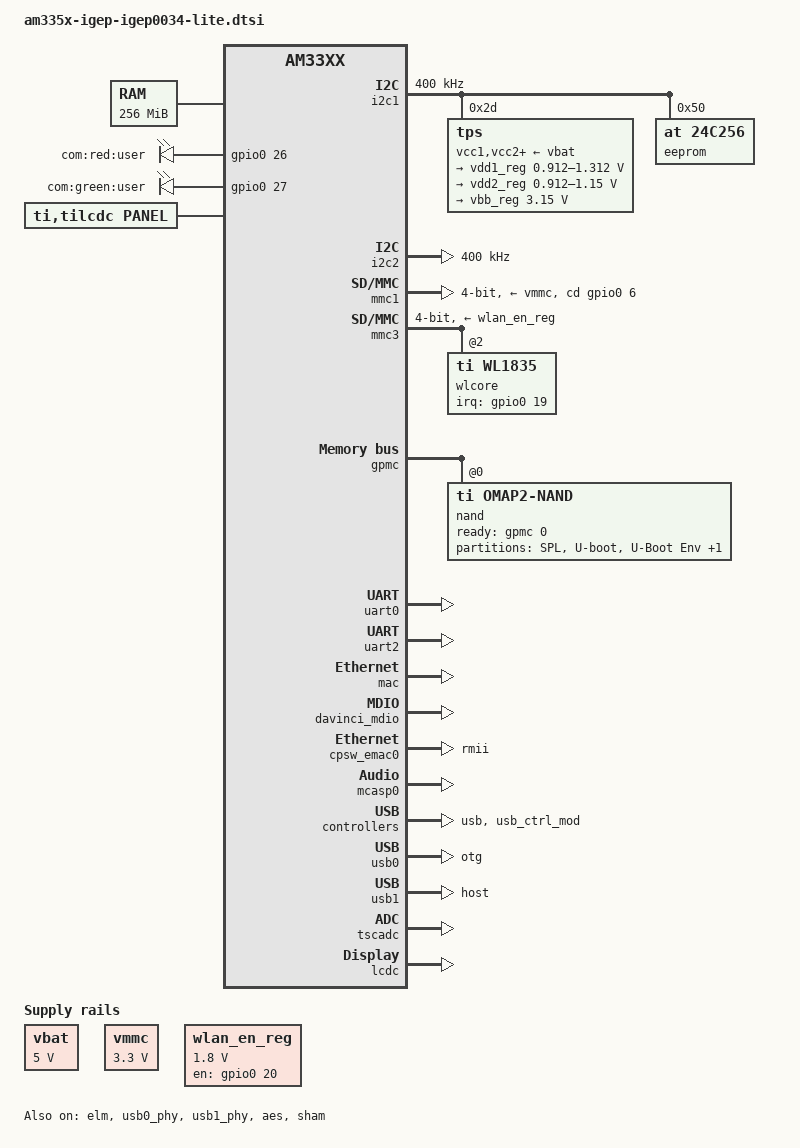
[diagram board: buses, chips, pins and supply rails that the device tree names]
/*
 * am335x-igep-igep0034-lite.dtsi - Device Tree file for IGEP0034 Lite
 * MODULE based on AM3352
 *
 * Copyright (C) 2016 ISEE 2007 SL - http://www.isee.biz
 *
 * This program is free software; you can redistribute it and/or modify
 * it under the terms of the GNU General Public License version 2 as
 * published by the Free Software Foundation.
 */

#include "am33xx.dtsi"
#include <dt-bindings/interrupt-controller/irq.h>

/ {
	cpus {
		cpu@0 {
			cpu0-supply = <&vdd1_reg>;
		};
	};

	memory {
		device_type = "memory";
		reg = <0x80000000 0x10000000>; /* 256 MB */
	};

	leds {
		pinctrl-names = "default", "sleep";
		pinctrl-0 = <&leds_pins_default>;
		pinctrl-1 = <&leds_pins_sleep>;
		compatible = "gpio-leds";

		led@0 {
			label = "com:red:user";
			gpios = <&gpio0 26 GPIO_ACTIVE_HIGH>;
			default-state = "off";
		};

		led@1 {
			label = "com:green:user";
			gpios = <&gpio0 27 GPIO_ACTIVE_HIGH>;
			default-state = "on";
		};
	};

	vbat: fixedregulator@0 {
		compatible = "regulator-fixed";
		regulator-name = "vbat";
		regulator-min-microvolt = <5000000>;
		regulator-max-microvolt = <5000000>;
		regulator-boot-on;
	};

	vmmc: fixedregulator@1 {
		compatible = "regulator-fixed";
		regulator-name = "vmmc";
		regulator-min-microvolt = <3300000>;
		regulator-max-microvolt = <3300000>;
	};

	wlan_en_reg: fixedregulator@2 {
		compatible = "regulator-fixed";
		regulator-name = "wlan-en-regulator";
		regulator-min-microvolt = <1800000>;
		regulator-max-microvolt = <1800000>;

		/* WL_EN */
		gpio = <&gpio0 20 0>;

		/* WLAN card specific delay */
		startup-delay-us = <70000>;
		enable-active-high;
	};

	kim {
		compatible = "kim";
		nshutdown_gpio = <60>; /* Bank1, pin28 */
		dev_name = "/dev/ttyO2";
		flow_cntrl = <1>;
		baud_rate = <3000000>;
	};

	btwilink {
		compatible = "btwilink";
	};

	panel {
		compatible = "ti,tilcdc,panel";
		pinctrl-names = "default", "sleep";
		pinctrl-0 = <&lcd_pins_default>;
		pinctrl-1 = <&lcd_pins_sleep>;
	};
};

&am33xx_pinmux {
	i2c1_pins: pinmux_i2c1_pins {
		pinctrl-single,pins = <
			AM33XX_IOPAD(0x980, PIN_INPUT_PULLUP | MUX_MODE3)	/* uart1_rxd.I2C1_SDA */
			AM33XX_IOPAD(0x984, PIN_INPUT_PULLUP | MUX_MODE3)	/* uart1_txd.I2C1_SCL */
		>;
	};

	i2c2_pins: pinmux_i2c2_pins {
		pinctrl-single,pins = <
			AM33XX_IOPAD(0x978, PIN_INPUT_PULLUP | MUX_MODE3)	/* uart1_ctsn.I2C2_SDA */
			AM33XX_IOPAD(0x97C, PIN_INPUT_PULLUP | MUX_MODE3)	/* uart1_rtsn.I2C2_SCL */
		>;
	};

	leds_pins_default: pinmux_leds_pins_default {
		pinctrl-single,pins = <
			AM33XX_IOPAD(0x828, PIN_OUTPUT_PULLUP | MUX_MODE7)		/* gpmc_ad10.gpio0[26] */
			AM33XX_IOPAD(0x82C, PIN_OUTPUT_PULLDOWN | MUX_MODE7)	/* gpmc_ad11.gpio0[27] */
		>;
	};

	leds_pins_sleep: pinmux_leds_pins_sleep {
		pinctrl-single,pins = <
			AM33XX_IOPAD(0x828, PIN_INPUT_PULLDOWN | MUX_MODE7)		/* gpmc_ad10.gpio0[26] */
			AM33XX_IOPAD(0x82C, PIN_INPUT_PULLDOWN | MUX_MODE7)	/* gpmc_ad11.gpio0[27] */
		>;
	};

	mmc1_pins_default: pinmux_mmc1_pins_default {
		pinctrl-single,pins = <
			AM33XX_IOPAD(0x8F0, PIN_INPUT_PULLUP | MUX_MODE0)	/* mmc0_dat3.mmc0_dat3 */
			AM33XX_IOPAD(0x8F4, PIN_INPUT_PULLUP | MUX_MODE0)	/* mmc0_dat2.mmc0_dat2 */
			AM33XX_IOPAD(0x8F8, PIN_INPUT_PULLUP | MUX_MODE0)	/* mmc0_dat1.mmc0_dat1 */
			AM33XX_IOPAD(0x8FC, PIN_INPUT_PULLUP | MUX_MODE0)	/* mmc0_dat0.mmc0_dat0 */
			AM33XX_IOPAD(0x900, PIN_INPUT_PULLUP | MUX_MODE0)	/* mmc0_clk.mmc0_clk */
			AM33XX_IOPAD(0x904, PIN_INPUT_PULLUP | MUX_MODE0)	/* mmc0_cmd.mmc0_cmd */
			AM33XX_IOPAD(0x960, PIN_INPUT | MUX_MODE7)			/* spi0_cs1.gpio0_6 */
		>;
	};

	mmc1_pins_sleep: pinmux_mmc1_pins_sleep {
		pinctrl-single,pins = <
			AM33XX_IOPAD(0x8F0, PIN_INPUT_PULLDOWN | MUX_MODE7)
			AM33XX_IOPAD(0x8F4, PIN_INPUT_PULLDOWN | MUX_MODE7)
			AM33XX_IOPAD(0x8F8, PIN_INPUT_PULLDOWN | MUX_MODE7)
			AM33XX_IOPAD(0x8FC, PIN_INPUT_PULLDOWN | MUX_MODE7)
			AM33XX_IOPAD(0x900, PIN_INPUT_PULLDOWN | MUX_MODE7)
			AM33XX_IOPAD(0x904, PIN_INPUT_PULLDOWN | MUX_MODE7)
			AM33XX_IOPAD(0x960, PIN_INPUT_PULLDOWN | MUX_MODE7)
		>;
	};

	mmc3_pins_default: pinmux_mmc3_pins_default {
		pinctrl-single,pins = <
			AM33XX_IOPAD(0x83C, PIN_INPUT_PULLUP | MUX_MODE3)	/* gpmc_ad15.mmc2_dat3 */
			AM33XX_IOPAD(0x838, PIN_INPUT_PULLUP | MUX_MODE3)	/* gpmc_ad14.mmc2_dat2 */
			AM33XX_IOPAD(0x834, PIN_INPUT_PULLUP | MUX_MODE3)	/* gpmc_ad13.mmc2_dat1 */
			AM33XX_IOPAD(0x830, PIN_INPUT_PULLUP | MUX_MODE3)	/* gpmc_ad12.mmc2_dat0 */
			AM33XX_IOPAD(0x88C, PIN_INPUT_PULLUP | MUX_MODE3)	/* gpmc_clk.mmc2_clk */
			AM33XX_IOPAD(0x888, PIN_INPUT_PULLUP | MUX_MODE3)	/* gpmc_csn3.mmc2_cmd */
		>;
	};

	mmc3_pins_sleep: pinmux_mmc3_pins_sleep {
		pinctrl-single,pins = <
			AM33XX_IOPAD(0x83C, PIN_INPUT_PULLUP | MUX_MODE7)
			AM33XX_IOPAD(0x838, PIN_INPUT_PULLUP | MUX_MODE7)
			AM33XX_IOPAD(0x834, PIN_INPUT_PULLUP | MUX_MODE7)
			AM33XX_IOPAD(0x830, PIN_INPUT_PULLUP | MUX_MODE7)
			AM33XX_IOPAD(0x88C, PIN_INPUT_PULLUP | MUX_MODE7)
			AM33XX_IOPAD(0x888, PIN_INPUT_PULLUP | MUX_MODE7)
		>;
	};

	wlan_pins: pinmux_wlan_pins {
		pinctrl-single,pins = <
			AM33XX_IOPAD(0x9B4, PIN_OUTPUT_PULLDOWN | MUX_MODE7)	/* gpio0_20 WL_EN */
			AM33XX_IOPAD(0x9B0, PIN_INPUT_PULLUP | MUX_MODE7)		/* gpio0_19 WL_IRQ */
			AM33XX_IOPAD(0x878, PIN_OUTPUT_PULLDOWN | MUX_MODE7)	/* gpio1_28 BT_EN */
		>;
	};

	nandflash_pins_default: pinmux_nandflash_pins_default {
		pinctrl-single,pins = <
			AM33XX_IOPAD(0x800, PIN_INPUT_PULLUP | MUX_MODE0)	/* gpmc_ad0.gpmc_ad0 */
			AM33XX_IOPAD(0x804, PIN_INPUT_PULLUP | MUX_MODE0)	/* gpmc_ad1.gpmc_ad1 */
			AM33XX_IOPAD(0x808, PIN_INPUT_PULLUP | MUX_MODE0)	/* gpmc_ad2.gpmc_ad2 */
			AM33XX_IOPAD(0x80C, PIN_INPUT_PULLUP | MUX_MODE0)	/* gpmc_ad3.gpmc_ad3 */
			AM33XX_IOPAD(0x810, PIN_INPUT_PULLUP | MUX_MODE0)	/* gpmc_ad4.gpmc_ad4 */
			AM33XX_IOPAD(0x814, PIN_INPUT_PULLUP | MUX_MODE0)	/* gpmc_ad5.gpmc_ad5 */
			AM33XX_IOPAD(0x818, PIN_INPUT_PULLUP | MUX_MODE0)	/* gpmc_ad6.gpmc_ad6 */
			AM33XX_IOPAD(0x81C, PIN_INPUT_PULLUP | MUX_MODE0)	/* gpmc_ad7.gpmc_ad7 */
			AM33XX_IOPAD(0x870, PIN_INPUT_PULLUP | MUX_MODE0)	/* gpmc_wait0.gpmc_wait0 */
			AM33XX_IOPAD(0x874, PIN_INPUT_PULLUP | MUX_MODE7)	/* gpmc_wpn.gpio0_30 */
			AM33XX_IOPAD(0x87C, PIN_OUTPUT | MUX_MODE0)			/* gpmc_csn0.gpmc_csn0 */
			AM33XX_IOPAD(0x890, PIN_OUTPUT | MUX_MODE0)			/* gpmc_advn_ale.gpmc_advn_ale */
			AM33XX_IOPAD(0x894, PIN_OUTPUT | MUX_MODE0)			/* gpmc_oen_ren.gpmc_oen_ren */
			AM33XX_IOPAD(0x898, PIN_OUTPUT | MUX_MODE0)			/* gpmc_wen.gpmc_wen */
			AM33XX_IOPAD(0x89C, PIN_OUTPUT | MUX_MODE0)			/* gpmc_be0n_cle.gpmc_be0n_cle */
		>;
	};

	nandflash_pins_sleep: pinmux_nandflash_pins_sleep {
		pinctrl-single,pins = <
			AM33XX_IOPAD(0x800, PIN_INPUT_PULLDOWN | MUX_MODE7)
			AM33XX_IOPAD(0x804, PIN_INPUT_PULLDOWN | MUX_MODE7)
			AM33XX_IOPAD(0x808, PIN_INPUT_PULLDOWN | MUX_MODE7)
			AM33XX_IOPAD(0x80C, PIN_INPUT_PULLDOWN | MUX_MODE7)
			AM33XX_IOPAD(0x810, PIN_INPUT_PULLDOWN | MUX_MODE7)
			AM33XX_IOPAD(0x814, PIN_INPUT_PULLDOWN | MUX_MODE7)
			AM33XX_IOPAD(0x818, PIN_INPUT_PULLDOWN | MUX_MODE7)
			AM33XX_IOPAD(0x81C, PIN_INPUT_PULLDOWN | MUX_MODE7)
			AM33XX_IOPAD(0x870, PIN_INPUT_PULLDOWN | MUX_MODE7)
			AM33XX_IOPAD(0x874, PIN_INPUT_PULLDOWN | MUX_MODE7)
			AM33XX_IOPAD(0x87C, PIN_INPUT_PULLDOWN | MUX_MODE7)
			AM33XX_IOPAD(0x890, PIN_INPUT_PULLDOWN | MUX_MODE7)
			AM33XX_IOPAD(0x894, PIN_INPUT_PULLDOWN | MUX_MODE7)
			AM33XX_IOPAD(0x898, PIN_INPUT_PULLDOWN | MUX_MODE7)
			AM33XX_IOPAD(0x89C, PIN_INPUT_PULLDOWN | MUX_MODE7)
		>;
	};

	uart0_pins: pinmux_uart0_pins {
		pinctrl-single,pins = <
			AM33XX_IOPAD(0x970, PIN_INPUT_PULLUP | MUX_MODE0)		/* uart0_rxd.uart0_rxd */
			AM33XX_IOPAD(0x974, PIN_OUTPUT_PULLDOWN | MUX_MODE0)	/* uart0_txd.uart0_txd */
		>;
	};

	uart2_pins_default: pinmux_uart2_pins_default {
		pinctrl-single,pins = <
			AM33XX_IOPAD(0x988, PIN_INPUT | MUX_MODE2)				/* I2C0_SDA.uart2_ctsn */
			AM33XX_IOPAD(0x98C, PIN_OUTPUT_PULLDOWN | MUX_MODE2)	/* I2C0_SCL.uart2_rtsn */
			AM33XX_IOPAD(0x92C, PIN_INPUT_PULLUP | MUX_MODE1)		/* gmii1_txclk.uart2_rxd */
			AM33XX_IOPAD(0x930, PIN_OUTPUT | MUX_MODE1)				/* gmii1_rxclk.uart2_txd */
		>;
	};

	uart2_pins_sleep: pinmux_uart2_pins_sleep {
		pinctrl-single,pins = <
			AM33XX_IOPAD(0x988, PIN_INPUT_PULLDOWN | MUX_MODE7)
			AM33XX_IOPAD(0x98C, PIN_INPUT_PULLDOWN | MUX_MODE7)
			AM33XX_IOPAD(0x92C, PIN_INPUT_PULLDOWN | MUX_MODE7)
			AM33XX_IOPAD(0x930, PIN_INPUT_PULLDOWN | MUX_MODE7)
		>;
	};

	cpsw_default: pinmux_cpsw_default {
		pinctrl-single,pins = <
			/* Slave 1: eth0 device*/
			AM33XX_IOPAD(0x90C, PIN_INPUT_PULLDOWN | MUX_MODE1)	/* gmii1_crs.rmii1_crs_dv */
			AM33XX_IOPAD(0x910, PIN_INPUT_PULLUP | MUX_MODE1)	/* gmii1_rxer.rmii1_rxer */
			AM33XX_IOPAD(0x914, PIN_OUTPUT_PULLDOWN | MUX_MODE1)	/* gmii1_txen.rmii1_txen */
			AM33XX_IOPAD(0x928, PIN_OUTPUT_PULLDOWN | MUX_MODE1)	/* gmii1_txd0.rmii1_txd0 */
			AM33XX_IOPAD(0x924, PIN_OUTPUT_PULLDOWN | MUX_MODE1)	/* gmii1_txd1.rmii1_txd1 */
			AM33XX_IOPAD(0x940, PIN_INPUT_PULLUP | MUX_MODE1)	/* gmii1_rxd0.rmii1_rxd0 */
			AM33XX_IOPAD(0x93C, PIN_INPUT_PULLUP | MUX_MODE1)	/* gmii1_rxd1.rmii1_rxd1 */
			AM33XX_IOPAD(0x944, PIN_INPUT_PULLDOWN | MUX_MODE0)	/* rmii1_refclk.rmii1_refclk */
		>;
	};

	cpsw_sleep: pinmux_cpsw_sleep {
		pinctrl-single,pins = <
			/* Slave 1: eth0 device*/
			AM33XX_IOPAD(0x90C, PIN_INPUT_PULLDOWN | MUX_MODE7)
			AM33XX_IOPAD(0x910, PIN_INPUT_PULLDOWN | MUX_MODE7)
			AM33XX_IOPAD(0x914, PIN_INPUT_PULLDOWN | MUX_MODE7)
			AM33XX_IOPAD(0x928, PIN_INPUT_PULLDOWN | MUX_MODE7)
			AM33XX_IOPAD(0x924, PIN_INPUT_PULLDOWN | MUX_MODE7)
			AM33XX_IOPAD(0x940, PIN_INPUT_PULLDOWN | MUX_MODE7)
			AM33XX_IOPAD(0x93C, PIN_INPUT_PULLDOWN | MUX_MODE7)
			AM33XX_IOPAD(0x944, PIN_INPUT_PULLDOWN | MUX_MODE7)
		>;
	};

	davinci_mdio_default: pinmux_davinci_mdio_default {
		pinctrl-single,pins = <
			AM33XX_IOPAD(0x948, PIN_INPUT_PULLUP | SLEWCTRL_FAST | MUX_MODE0)	/* mdio_data.mdio_data */
			AM33XX_IOPAD(0x94C, PIN_OUTPUT_PULLUP | MUX_MODE0)					/* mdio_clk.mdio_clk */
		>;
	};

	davinci_mdio_sleep: pinmux_davinci_mdio_sleep {
		pinctrl-single,pins = <
			AM33XX_IOPAD(0x948, PIN_INPUT_PULLDOWN | MUX_MODE7)
			AM33XX_IOPAD(0x94C, PIN_INPUT_PULLDOWN | MUX_MODE7)
		>;
	};

	mcasp0_pins_default: pinmux_mcasp0_pins_default {
		pinctrl-single,pins = <
			AM33XX_IOPAD(0x990, PIN_INPUT_PULLDOWN | MUX_MODE0)	/* mcasp0_aclkx.mcasp0_aclkx */
			AM33XX_IOPAD(0x994, PIN_INPUT_PULLDOWN | MUX_MODE0)	/* mcasp0_fsx.mcasp0_fsx */
			AM33XX_IOPAD(0x998, PIN_OUTPUT_PULLDOWN | MUX_MODE0)/* mcasp0_axr0.mcasp0_axr0 */
			AM33XX_IOPAD(0x9A8, PIN_INPUT_PULLDOWN | MUX_MODE0)	/* mcasp0_axr1.mcasp0_axr1 */
		>;
	};

	mcasp0_pins_sleep: pinmux_mcasp0_pins_sleep {
		pinctrl-single,pins = <
			AM33XX_IOPAD(0x990, PIN_INPUT_PULLDOWN | MUX_MODE0)
			AM33XX_IOPAD(0x994, PIN_INPUT_PULLDOWN | MUX_MODE0)
			AM33XX_IOPAD(0x998, PIN_INPUT_PULLDOWN | MUX_MODE0)
			AM33XX_IOPAD(0x9A8, PIN_INPUT_PULLDOWN | MUX_MODE0)
		>;
	};

	lcd_pins_default: pinmux_lcd_pins_default {
		pinctrl-single,pins = <
			AM33XX_IOPAD(0x8a0, PIN_OUTPUT | MUX_MODE0)				/* lcd_data0.lcd_data0 */
			AM33XX_IOPAD(0x8a4, PIN_OUTPUT | MUX_MODE0)				/* lcd_data1.lcd_data1 */
			AM33XX_IOPAD(0x8a8, PIN_OUTPUT | MUX_MODE0)				/* lcd_data2.lcd_data2 */
			AM33XX_IOPAD(0x8ac, PIN_OUTPUT | MUX_MODE0)				/* lcd_data3.lcd_data3 */
			AM33XX_IOPAD(0x8b0, PIN_OUTPUT | MUX_MODE0)				/* lcd_data4.lcd_data4 */
			AM33XX_IOPAD(0x8b4, PIN_OUTPUT | MUX_MODE0)				/* lcd_data5.lcd_data5 */
			AM33XX_IOPAD(0x8b8, PIN_OUTPUT | MUX_MODE0)				/* lcd_data6.lcd_data6 */
			AM33XX_IOPAD(0x8bc, PIN_OUTPUT | MUX_MODE0)				/* lcd_data7.lcd_data7 */
			AM33XX_IOPAD(0x8c0, PIN_OUTPUT | MUX_MODE0)				/* lcd_data8.lcd_data8 */
			AM33XX_IOPAD(0x8c4, PIN_OUTPUT | MUX_MODE0)				/* lcd_data9.lcd_data9 */
			AM33XX_IOPAD(0x8c8, PIN_OUTPUT | MUX_MODE0)				/* lcd_data10.lcd_data10 */
			AM33XX_IOPAD(0x8cc, PIN_OUTPUT | MUX_MODE0)				/* lcd_data11.lcd_data11 */
			AM33XX_IOPAD(0x8d0, PIN_OUTPUT | MUX_MODE0)				/* lcd_data12.lcd_data12 */
			AM33XX_IOPAD(0x8d4, PIN_OUTPUT | MUX_MODE0)				/* lcd_data13.lcd_data13 */
			AM33XX_IOPAD(0x8d8, PIN_OUTPUT | MUX_MODE0)				/* lcd_data14.lcd_data14 */
			AM33XX_IOPAD(0x8dc, PIN_OUTPUT | MUX_MODE0)				/* lcd_data15.lcd_data15 */
			AM33XX_IOPAD(0x8e0, PIN_OUTPUT_PULLDOWN | MUX_MODE0)	/* lcd_vsync.lcd_vsync */
			AM33XX_IOPAD(0x8e4, PIN_OUTPUT_PULLDOWN | MUX_MODE0)	/* lcd_hsync.lcd_hsync */
			AM33XX_IOPAD(0x8e8, PIN_OUTPUT_PULLDOWN | MUX_MODE0)	/* lcd_pclk.lcd_pclk */
			AM33XX_IOPAD(0x8ec, PIN_OUTPUT_PULLDOWN | MUX_MODE0)	/* lcd_ac_bias_en.lcd_ac_bias_en */
		>;
	};

	lcd_pins_sleep: pinmux_lcd_pins_sleep {
		pinctrl-single,pins = <
			AM33XX_IOPAD(0x8a0, PIN_INPUT | MUX_MODE7)
			AM33XX_IOPAD(0x8a4, PIN_INPUT | MUX_MODE7)
			AM33XX_IOPAD(0x8a8, PIN_INPUT | MUX_MODE7)
			AM33XX_IOPAD(0x8ac, PIN_INPUT | MUX_MODE7)
			AM33XX_IOPAD(0x8b0, PIN_INPUT | MUX_MODE7)
			AM33XX_IOPAD(0x8b4, PIN_INPUT | MUX_MODE7)
			AM33XX_IOPAD(0x8b8, PIN_INPUT | MUX_MODE7)
			AM33XX_IOPAD(0x8bc, PIN_INPUT | MUX_MODE7)
			AM33XX_IOPAD(0x8c0, PIN_INPUT | MUX_MODE7)
			AM33XX_IOPAD(0x8c4, PIN_INPUT | MUX_MODE7)
			AM33XX_IOPAD(0x8c8, PIN_INPUT | MUX_MODE7)
			AM33XX_IOPAD(0x8cc, PIN_INPUT | MUX_MODE7)
			AM33XX_IOPAD(0x8d0, PIN_INPUT | MUX_MODE7)
			AM33XX_IOPAD(0x8d4, PIN_INPUT | MUX_MODE7)
			AM33XX_IOPAD(0x8d8, PIN_INPUT | MUX_MODE7)
			AM33XX_IOPAD(0x8dc, PIN_INPUT | MUX_MODE7)
			AM33XX_IOPAD(0x8e0, PIN_INPUT_PULLDOWN | MUX_MODE7)
			AM33XX_IOPAD(0x8e4, PIN_INPUT_PULLDOWN | MUX_MODE7)
			AM33XX_IOPAD(0x8e8, PIN_INPUT_PULLDOWN | MUX_MODE7)
			AM33XX_IOPAD(0x8ec, PIN_INPUT_PULLDOWN | MUX_MODE7)
		>;
	};
};

&i2c1 {
	status = "okay";
	pinctrl-names = "default";
	pinctrl-0 = <&i2c1_pins>;

	clock-frequency = <400000>;

	tps: tps@2d {
		reg = <0x2d>;
	};

	eeprom: eeprom@50 {
		compatible = "at,24c256";
		reg = <0x50>;
	};
};

&i2c2 {
	status = "okay";
	pinctrl-names = "default";
	pinctrl-0 = <&i2c2_pins>;

	clock-frequency = <400000>;
};

&mmc1 {
	status = "okay";
	vmmc-supply = <&vmmc>;
	bus-width = <4>;
	pinctrl-names = "default", "sleep";
	pinctrl-0 = <&mmc1_pins_default>;
	pinctrl-1 = <&mmc1_pins_sleep>;
	cd-gpios = <&gpio0 6 GPIO_ACTIVE_HIGH>;
};

&edma {
	/* Map eDMA MMC2 Events from Crossbar */
	ti,edma-xbar-event-map = /bits/ 16 <1 12
                                            2 13>;
};

&mmc3 {
	status = "okay";
	dmas = <&edma 12
		&edma 13>;
	dma-names = "tx", "rx";
	vmmc-supply = <&wlan_en_reg>;
	bus-width = <4>;
	pinctrl-names = "default", "sleep";
	pinctrl-0 = <&mmc3_pins_default &wlan_pins>;
	pinctrl-1 = <&mmc3_pins_sleep &wlan_pins>;
	ti,non-removable;
	ti,needs-special-hs-handling;
	cap-power-off-card;
	keep-power-in-suspend;

	#address-cells = <1>;
	#size-cells = <0>;
	wlcore: wlcore@0 {
		compatible = "ti,wl1835";
		reg = <2>;
		interrupt-parent = <&gpio0>;
		interrupts = <19 IRQ_TYPE_LEVEL_HIGH>;
	};
};

&elm {
	status = "okay";
};

&gpmc {
	status = "okay";
	pinctrl-names = "default", "sleep";
	pinctrl-0 = <&nandflash_pins_default>;
	pinctrl-1 = <&nandflash_pins_sleep>;

	ranges = <0 0 0x08000000 0x08000000>;	/* CS0: 128 MB for NAND */

	nand@0,0 {
		compatible = "ti,omap2-nand";
		reg = <0 0 4>; /* CS0, offset 0, IO size 4 */
		interrupt-parent = <&intc>;
		interrupts = <100>;
		ready-gpio = <&gpmc 0 GPIO_ACTIVE_HIGH>; /* gpmc_wait0 */
		nand-bus-width = <8>;
		ti,nand-ecc-opt = "bch8";
		ti,elm-id = <&elm>;

		gpmc,device-width = <1>;
		gpmc,sync-clk-ps = <0>;
		gpmc,cs-on-ns = <0>;
		gpmc,cs-rd-off-ns = <44>;
		gpmc,cs-wr-off-ns = <44>;
		gpmc,adv-on-ns = <6>;
		gpmc,adv-rd-off-ns = <34>;
		gpmc,adv-wr-off-ns = <44>;
		gpmc,we-on-ns = <0>;
		gpmc,we-off-ns = <40>;
		gpmc,oe-on-ns = <0>;
		gpmc,oe-off-ns = <54>;
		gpmc,access-ns = <64>;
		gpmc,rd-cycle-ns = <82>;
		gpmc,wr-cycle-ns = <82>;
		gpmc,bus-turnaround-ns = <0>;
		gpmc,cycle2cycle-delay-ns = <0>;
		gpmc,clk-activation-ns = <0>;
		gpmc,wr-access-ns = <40>;
		gpmc,wr-data-mux-bus-ns = <0>;

		#address-cells = <1>;
		#size-cells = <1>;
		elm_id = <&elm>;

		/* MTD partition table */
		partition@0 {
			label = "SPL";
			reg = <0x00000000 0x00080000>;
		};

		partition@1 {
			label = "U-boot";
			reg = <0x00080000 0x00100000>;
		};

		partition@2 {
			label = "U-Boot Env";
			reg = <0x00180000 0x00020000>;
		};

		partition@3 {
			label = "FileSystem";
			reg = <0x001A0000 0x07E60000>;
		};
	};
};

&uart0 {
	status = "okay";
	pinctrl-names = "default";
	pinctrl-0 = <&uart0_pins>;
};

&uart2 {
	status = "okay";
	pinctrl-names = "default", "sleep";
	pinctrl-0 = <&uart2_pins_default>;
	pinctrl-1 = <&uart2_pins_sleep>;
};

&mac {
	status = "okay";
	pinctrl-names = "default", "sleep";
	pinctrl-0 = <&cpsw_default>;
	pinctrl-1 = <&cpsw_sleep>;
};

&davinci_mdio {
	status = "okay";
	pinctrl-names = "default", "sleep";
	pinctrl-0 = <&davinci_mdio_default>;
	pinctrl-1 = <&davinci_mdio_sleep>;
};

&cpsw_emac0 {
	phy_id = <&davinci_mdio>, <1>;
	phy-mode = "rmii";
};

&phy_sel {
	rmii-clock-ext;
};

&mcasp0 {
	status = "okay";
	pinctrl-names = "default", "sleep";
	pinctrl-0 = <&mcasp0_pins_default>;
	pinctrl-1 = <&mcasp0_pins_sleep>;
};

&usb {
	status = "okay";
};

&usb0 {
	status = "okay";
	dr_mode = "otg";
};

&usb1 {
	status = "okay";
	dr_mode = "host";
};

&usb_ctrl_mod {
	status = "okay";
};

&usb0_phy {
	status = "okay";
};

&usb1_phy {
	status = "okay";
};

&cppi41dma {
	status = "okay";
};

#include "tps65910.dtsi"

&tps {
	interrupts = <7>; /* SYS_NIRQ cascaded to intc */
	interrupt-parent = <&intc>;
	ti,en-ck32k-xtal;

	vcc1-supply = <&vbat>;
	vcc2-supply = <&vbat>;
	vcc3-supply = <&vbat>;
	vcc4-supply = <&vbat>;
	vcc5-supply = <&vbat>;
	vcc6-supply = <&vbat>;
	vcc7-supply = <&vbat>;
	vccio-supply = <&vbat>;

	rtc1: rtc {
		compatible = "ti,tps65910-rtc";
		interrupts = <7>;
		ti,hwmods = "rtc1";
	};

	regulators {
		vrtc_reg: regulator@0 {
			regulator-always-on;
		};

		vio_reg: regulator@1 {
			regulator-always-on;
		};

		vdd1_reg: regulator@2 {
			/* VDD_MPU voltage limits 0.95V - 1.26V with +/-4% tolerance */
			regulator-name = "vdd_mpu";
			regulator-min-microvolt = <912500>;
			regulator-max-microvolt = <1312500>;
			regulator-boot-on;
			regulator-always-on;
		};

		vdd2_reg: regulator@3 {
			/* VDD_CORE voltage limits 0.95V - 1.1V with +/-4% tolerance */
			regulator-name = "vdd_core";
			regulator-min-microvolt = <912500>;
			regulator-max-microvolt = <1150000>;
			regulator-boot-on;
			regulator-always-on;
		};

		vdd3_reg: regulator@4 {
			regulator-always-on;
		};

		vdig1_reg: regulator@5 {
			regulator-always-on;
		};

		vdig2_reg: regulator@6 {
			regulator-always-on;
		};

		vpll_reg: regulator@7 {
			regulator-always-on;
		};

		vdac_reg: regulator@8 {
			regulator-always-on;
		};

		vaux1_reg: regulator@9 {
			regulator-always-on;
		};

		vaux2_reg: regulator@10 {
			regulator-always-on;
		};

		vaux33_reg: regulator@11 {
			regulator-always-on;
		};

		vmmc_reg: regulator@12 {
			regulator-always-on;
		};

		vbb_reg: regulator@13 {
			regulator-min-microvolt = <3150000>;
			regulator-max-microvolt = <3150000>;
			regulator-boot-on;
			regulator-always-on;
		};
	};
};

&rtc {
	compatible = "ti,am3352-rtc";
	ext-clk-src;
};

&tscadc {
	status = "okay";

	adc {
		ti,adc-channels = <0 1 2 3 4 5 6 7>;
	};
};

&lcdc {
	status = "okay";
};

&aes {
	status = "okay";
};

&sham {
	status = "okay";
};
